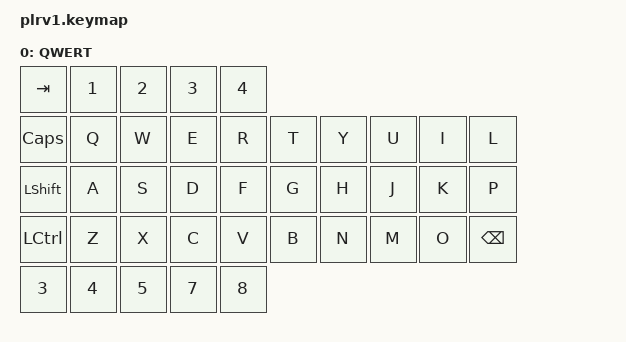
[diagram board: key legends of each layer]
#include <behaviors.dtsi>
#include <dt-bindings/zmk/keys.h>
#include <dt-bindings/zmk/bt.h>

#define QWERT 0
#define FUNC  1

/ {
    keymap {
        compatible = "zmk,keymap";

        default_layer {
            display-name = "QWERT";
            bindings = <
                &kp TAB     &kp N1      &kp N2      &kp N3      &kp N4
                &kp CAPS    &kp Q       &kp W       &kp E       &kp R       &kp T       &kp Y       &kp U       &kp I       &kp L
                &kp LSHIFT  &kp A       &kp S       &kp D       &kp F       &kp G       &kp H       &kp J       &kp K       &kp P
                &kp LCTRL   &kp Z       &kp X       &kp C       &kp V       &kp B       &kp N       &kp M       &kp O       &kp BSPC
                &kp N3      &kp N4      &kp N5      &kp N7      &kp N8
        >;
    };
};

};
